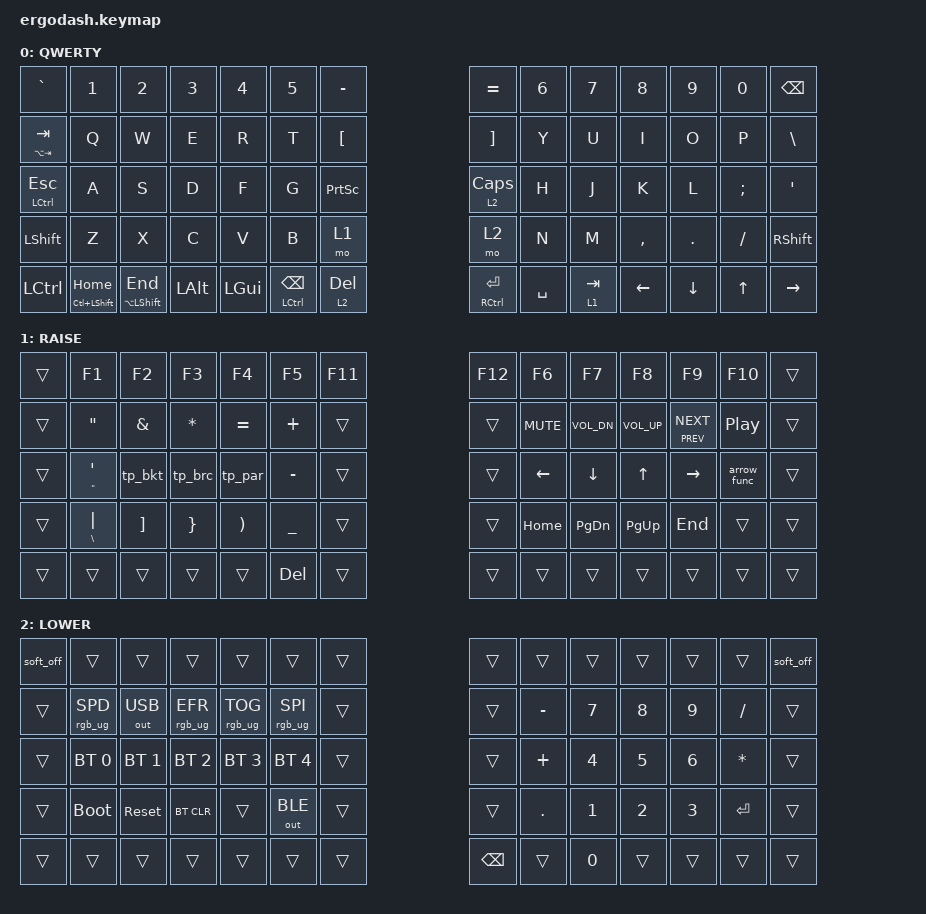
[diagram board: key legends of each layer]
/*
 * Copyright (c) 2020 The ZMK Contributors
 *
 * SPDX-License-Identifier: MIT
 */

#include <behaviors.dtsi>
#include <dt-bindings/zmk/bt.h>
#include <dt-bindings/zmk/keys.h>
#include <dt-bindings/zmk/outputs.h>
#include <dt-bindings/zmk/rgb.h>

&led_strip { chain-length = <12>; };

/ {
    combos {
        compatible = "zmk,combos";

        combo_space {
            bindings = <&kp SPACE>;
            key-positions = <45 46>;
        };

        combo_enter {
            bindings = <&kp RET>;
            key-positions = <39 38>;
        };

        combo_tab {
            bindings = <&mt LA(TAB) TAB>;
            key-positions = <37 38>;
        };
    };

    behaviors {
        ht: hold_tap {
            compatible = "zmk,behavior-hold-tap";
            label = "Hold-Tap";
            #binding-cells = <2>;
            tapping-term-ms = <200>;
            quick-tap-ms = <200>;
            flavor = "tap-preferred";
            bindings = <&kp>, <&kp>;
        };

        tp_par: tp_par {
            compatible = "zmk,behavior-tap-dance";
            label = "TAP PAIR PARENTHESIS";
            #binding-cells = <0>;
            bindings = <&kp LPAR>, <&pair LPAR RPAR>;
        };

        tp_bkt: tp_bkt {
            compatible = "zmk,behavior-tap-dance";
            label = "TAP PAIR BRACKET";
            #binding-cells = <0>;
            bindings = <&kp LBKT>, <&pair LEFT_BRACKET RBKT>;
        };

        tp_brc: tp_brc {
            compatible = "zmk,behavior-tap-dance";
            label = "TAP PAIR BRACE";
            #binding-cells = <0>;
            bindings = <&kp LBRC>, <&pair LBRC RBRC>;
        };
    };

    macros {
        arrow_func: arrow_func {
            compatible = "zmk,behavior-macro";
            #binding-cells = <0>;
            bindings = <&kp EQUAL &kp GT>;
            label = "ARROW_FUNC";
        };

        pair: pair {
            compatible = "zmk,behavior-macro-two-param";
            #binding-cells = <2>;
            bindings =
                <&macro_param_1to1>,
                <&macro_tap>,
                <&kp MACRO_PLACEHOLDER &macro_param_2to1>,
                <&macro_tap>,
                <&kp MACRO_PLACEHOLDER>,
                <&macro_tap>,
                <&kp LEFT>;
        };
    };

    keymap {
        compatible = "zmk,keymap";

        default_layer {
            /* QWERTY
 * .----------------------------------------------------------------------------------------------------------------------.
 * |  `   |   1  |   2  |   3  |   4  |   5  |  -   |                    |  =   |   6  |   7  |   8  |   9  |   0  | Bksp |
 * |------+------+------+------+------+------+------+--------------------+------+------+------+------+------+------+------|
 * | Tab  |   Q  |   W  |   E  |   R  |   T  |  [   |                    |  ]   |   Y  |   U  |   I  |   O  |   P  |  \   |
 * |------+------+------+------+------+------+------+--------------------+------+------+------+------+------+------+------|
 * |CtrlEs|   A  |   S  |   D  |   F  |   G  | PSCRN|                    | Enter|   H  |   J  |   K  |   L  |   ;  |  '   |
 * |------+------+------+------+------+------+---------------------------+------+------+------+------+------+------+------|
 * | Shift|   Z  |   X  |   C  |   V  |   B  | Lower|                    | PGUP |   N  |   M  |   ,  |   .  |   /  | Shift|
 * |-------------+------+------+------+------+------+------+------+------+------+------+------+------+------+-------------|
 * | Ctrl |      |      | Alt  |||||||| Win  | Bksp | Del  |||||||| PGDN | Space| Raise|||||||| Left | Down |  Up  | Right|
 * .----------------------------------------------------------------------------------------------------------------------.
 */

            bindings = <
&kp GRAVE        &kp N1              &kp N2             &kp N3    &kp N4    &kp N5  &kp MINUS                                 &kp EQUAL   &kp N6  &kp N7     &kp N8     &kp N9    &kp N0     &kp BSPC
&mt LA(TAB) TAB  &kp Q               &kp W              &kp E     &kp R     &kp T   &kp LBKT                                  &kp RBKT    &kp Y   &kp U      &kp I      &kp O     &kp P      &kp BSLH
&mt LCTRL ESC    &kp A               &kp S              &kp D     &kp F     &kp G   &kp PSCRN                                 &lt 2 CAPS  &kp H   &kp J      &kp K      &kp L     &kp SEMI   &kp SQT
&kp LSHFT        &kp Z               &kp X              &kp C     &kp V     &kp B                   &mo 1      &mo 2                      &kp N   &kp M      &kp COMMA  &kp DOT   &kp SLASH  &kp RSHFT
&kp LCTRL        &mt LC(LSHFT) HOME  &mt LA(LSHFT) END  &kp LALT  &kp LGUI          &ht LCTRL BSPC  &lt 2 DEL  &mt RCTRL RET  &kp SPACE           &lt 1 TAB  &kp LEFT   &kp DOWN  &kp UP     &kp RIGHT
            >;

            label = "QWERTY";
        };

        raise_layer {
            bindings = <
&trans  &kp F1                &kp F2    &kp F3     &kp F4     &kp F5     &kp F11                  &kp F12  &kp F6      &kp F7        &kp F8        &kp F9             &kp F10           &trans
&trans  &kp DQT               &kp AMPS  &kp ASTRK  &kp EQUAL  &kp PLUS   &trans                   &trans   &kp C_MUTE  &kp C_VOL_DN  &kp C_VOL_UP  &mt C_PREV C_NEXT  &kp C_PLAY_PAUSE  &trans
&trans  &mt DQT SINGLE_QUOTE  &tp_bkt   &tp_brc    &tp_par    &kp MINUS  &trans                   &trans   &kp LEFT    &kp DOWN      &kp UP        &kp RIGHT          &arrow_func       &trans
&trans  &mt BSLH PIPE         &kp RBKT  &kp RBRC   &kp RPAR   &kp UNDER           &trans  &trans           &kp HOME    &kp PG_DN     &kp PG_UP     &kp END            &trans            &trans
&trans  &trans                &trans    &trans     &trans                &kp DEL  &trans  &trans  &trans               &trans        &trans        &trans             &trans            &trans
            >;

            label = "RAISE";
        };

        lower_layer {
            bindings = <
&soft_off  &trans           &trans        &trans           &trans           &trans           &trans                    &trans  &trans     &trans  &trans  &trans  &trans     &soft_off
&trans     &rgb_ug RGB_SPD  &out OUT_USB  &rgb_ug RGB_EFR  &rgb_ug RGB_TOG  &rgb_ug RGB_SPI  &trans                    &trans  &kp MINUS  &kp N7  &kp N8  &kp N9  &kp SLASH  &trans
&trans     &bt BT_SEL 0     &bt BT_SEL 1  &bt BT_SEL 2     &bt BT_SEL 3     &bt BT_SEL 4     &trans                    &trans  &kp PLUS   &kp N4  &kp N5  &kp N6  &kp ASTRK  &trans
&trans     &bootloader      &sys_reset    &bt BT_CLR       &trans           &out OUT_BLE             &trans  &trans            &kp DOT    &kp N1  &kp N2  &kp N3  &kp RET    &trans
&trans     &trans           &trans        &trans           &trans                            &trans  &trans  &kp BSPC  &trans             &kp N0  &trans  &trans  &trans     &trans
            >;

            label = "LOWER";
        };
    };
};
